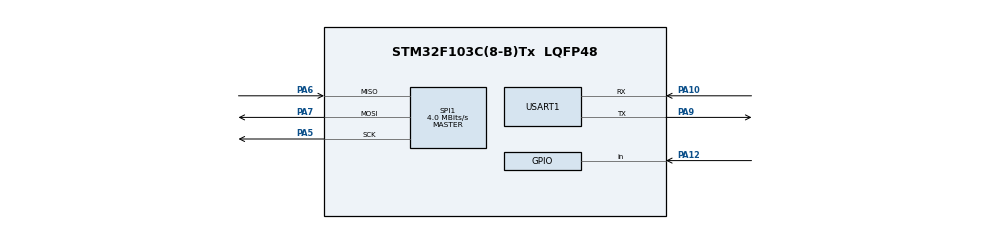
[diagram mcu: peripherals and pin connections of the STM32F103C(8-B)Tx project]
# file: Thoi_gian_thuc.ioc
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Mcu.Family=STM32F1
Mcu.Name=STM32F103C(8-B)Tx
Mcu.Package=LQFP48
NVIC.PriorityGroup=NVIC_PRIORITYGROUP_4
PA10.Mode=Asynchronous
PA10.Signal=USART1_RX
PA12.Signal=GPIO_Input
PA13.Mode=Serial_Wire
PA13.Signal=SYS_JTMS-SWDIO
PA14.Mode=Serial_Wire
PA14.Signal=SYS_JTCK-SWCLK
PA5.Mode=Full_Duplex_Master
PA5.Signal=SPI1_SCK
PA6.Mode=Full_Duplex_Master
PA6.Signal=SPI1_MISO
PA7.Mode=Full_Duplex_Master
PA7.Signal=SPI1_MOSI
PA9.Mode=Asynchronous
PA9.Signal=USART1_TX
ProjectManager.HeapSize=0x200
ProjectManager.StackSize=0x400
ProjectManager.TargetToolchain=STM32CubeIDE
RCC.APB1Freq_Value=8000000
RCC.APB2Freq_Value=8000000
SPI1.CalculateBaudRate=4.0 MBits/s
SPI1.Direction=SPI_DIRECTION_2LINES
SPI1.Mode=SPI_MODE_MASTER
SPI1.VirtualType=VM_MASTER
USART1.VirtualMode=VM_ASYNC
VP_TIM4_VS_ClockSourceINT.Mode=Internal
board=custom

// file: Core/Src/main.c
/* USER CODE BEGIN Header */
/**
  ******************************************************************************
  * @file           : main.c
  * @brief          : Main program body
  ******************************************************************************
  * @attention
  *
  * Copyright (c) 2025 STMicroelectronics.
  * All rights reserved.
  *
  * This software is licensed under terms that can be found in the LICENSE file
  * in the root directory of this software component.
  * If no LICENSE file comes with this software, it is provided AS-IS.
  *
  ******************************************************************************
  */
/* USER CODE END Header */
#include "main.h"
#include "stm32f10x.h"
#include "main.h"
#include "cmsis_os.h"
#include "stdio.h"
#include "string.h"

SPI_HandleTypeDef hspi1;

TIM_HandleTypeDef htim4;

UART_HandleTypeDef huart1;

void SystemClock_Config(void);
static void MX_GPIO_Init(void);
static void MX_TIM4_Init(void);
static void MX_SPI1_Init(void);
static void MX_USART1_UART_Init(void);

int main(void)
{
  /* USER CODE BEGIN 1 */

// Biến toàn cục
float temperature = 0.0, humidity = 0.0;
char uart_buffer[50];

// Queue để chia sẻ dữ liệu giữa task
QueueHandle_t SensorDataQueue;

// Hàm đọc cảm biến (giả lập)
void Read_DHT(float *temp, float *humid) {
}

// Task đọc dữ liệu cảm biến
void Task_ReadSensor(void *argument) {
    float temp, humid;

    while (1) {
        Read_DHT(&temp, &humid);

        // Gửi dữ liệu vào queue
        float data[2] = {temp, humid};
        xQueueSend(SensorDataQueue, &data, portMAX_DELAY);

        vTaskDelay(pdMS_TO_TICKS(1000)); // Chạy mỗi 1 giây
    }
}

// Task gửi UART
void Task_UARTSend(void *argument) {
    float data[2];

    while (1) {
        // Nhận dữ liệu từ queue
        if (xQueueReceive(SensorDataQueue, &data, portMAX_DELAY)) {
            sprintf(uart_buffer, "Temp: %.1f°C, Humidity: %.1f%%\r\n", data[0], data[1]);
            HAL_UART_Transmit(&huart1, (uint8_t *)uart_buffer, strlen(uart_buffer), HAL_MAX_DELAY);
        }
    }
}

// Task hiển thị LED
void Task_DisplayLED(void *argument) {
    float data[2];

    while (1) {
        // Nhận dữ liệu từ queue
        if (xQueueReceive(SensorDataQueue, &data, portMAX_DELAY)) {
            int temp_int = (int)data[0];
            int digit1 = temp_int / 10;
            int digit2 = temp_int % 10;

            // Hiển thị lên LED 7 thanh
            LED_DisplayDigit(1, digit1);
            HAL_Delay(5);
            LED_DisplayDigit(2, digit2);
            HAL_Delay(5);
        }
    }
}

// Main function
int main(void) {
    HAL_Init();
    SystemClock_Config();
    MX_GPIO_Init();
    MX_USART1_UART_Init();

    // Khởi tạo queue
    SensorDataQueue = xQueueCreate(10, sizeof(float) * 2);

    // Tạo tasks
    xTaskCreate(Task_ReadSensor, "ReadSensor", 128, NULL, 2, NULL);
    xTaskCreate(Task_UARTSend, "UARTSend", 128, NULL, 1, NULL);
    xTaskCreate(Task_DisplayLED, "DisplayLED", 128, NULL, 3, NULL);

    // Start scheduler
    vTaskStartScheduler();

    while (1);
}

void Delay1Ms(void);
void Delay_Ms(uint32_t u32DelayInMs);
void send(uint8_t u8Data);

void Delay1Ms(void)
{

	TIM_SetCounter(TIM2, 0);
	while (TIM_GetCounter(TIM2) < 1000) {
	}
}

void Delay_Ms(uint32_t u32DelayInMs)
{

	while (u32DelayInMs) {
		Delay1Ms();
		--u32DelayInMs;
	}
}

void send(uint8_t u8Data)
{
	uint8_t i;

	for (i = 0; i < 8; ++i) {
		if (u8Data & 0x80) {
			GPIO_SetBits(GPIOA, GPIO_Pin_0);
			Delay_Ms(4);
			GPIO_ResetBits(GPIOA, GPIO_Pin_0);
			Delay_Ms(1);
		} else {
			GPIO_SetBits(GPIOA, GPIO_Pin_0);
			Delay_Ms(1);
			GPIO_ResetBits(GPIOA, GPIO_Pin_0);
			Delay_Ms(4);
		}
		u8Data <<= 1;
	}
}

int main(void)
{
	GPIO_InitTypeDef gpioInit;
	TIM_TimeBaseInitTypeDef timerInit;
	uint16_t u16Tim;
	uint8_t u8Buff[5];
	uint8_t u8CheckSum;
	uint8_t i;

	RCC_APB2PeriphClockCmd(RCC_APB2Periph_GPIOC, ENABLE);
	RCC_APB2PeriphClockCmd(RCC_APB2Periph_GPIOB, ENABLE);
	RCC_APB1PeriphClockCmd(RCC_APB1Periph_TIM2, ENABLE);
	RCC_APB2PeriphClockCmd(RCC_APB2Periph_GPIOA, ENABLE);

	gpioInit.GPIO_Mode = GPIO_Mode_Out_PP;
	gpioInit.GPIO_Pin = GPIO_Pin_13;
	gpioInit.GPIO_Speed = GPIO_Speed_50MHz;

	GPIO_Init(GPIOC, &gpioInit);

	gpioInit.GPIO_Mode = GPIO_Mode_Out_OD;
	gpioInit.GPIO_Pin = GPIO_Pin_12;
	gpioInit.GPIO_Speed = GPIO_Speed_50MHz;

	GPIO_Init(GPIOB, &gpioInit);

	GPIO_SetBits(GPIOB, GPIO_Pin_12);

	timerInit.TIM_CounterMode = TIM_CounterMode_Up;
	timerInit.TIM_Period = 0xFFFF;
	timerInit.TIM_Prescaler = 72 - 1;

	TIM_TimeBaseInit(TIM2, &timerInit);

	TIM_Cmd(TIM2, ENABLE);

	gpioInit.GPIO_Mode = GPIO_Mode_Out_PP;
	gpioInit.GPIO_Pin = GPIO_Pin_0;
	gpioInit.GPIO_Speed = GPIO_Speed_50MHz;

	GPIO_Init(GPIOA, &gpioInit);

	while (1) {
		GPIO_ResetBits(GPIOB, GPIO_Pin_12);
		Delay_Ms(20);
		GPIO_SetBits(GPIOB, GPIO_Pin_12);

		/* cho chan PB12 len cao */
		TIM_SetCounter(TIM2, 0);
		while (TIM_GetCounter(TIM2) < 10) {
			if (GPIO_ReadInputDataBit(GPIOB, GPIO_Pin_12)) {
				break;
			}
		}
		u16Tim = TIM_GetCounter(TIM2);
		if (u16Tim >= 10) {
			while (1) {
			}
		}

		/* cho chan PB12 xuong thap */
		TIM_SetCounter(TIM2, 0);
		while (TIM_GetCounter(TIM2) < 45) {
			if (!GPIO_ReadInputDataBit(GPIOB, GPIO_Pin_12)) {
				break;
			}
		}
		u16Tim = TIM_GetCounter(TIM2);
		if ((u16Tim >= 45) || (u16Tim <= 5)) {
			while (1) {
			}
		}

		/* cho chan PB12 len cao */
		TIM_SetCounter(TIM2, 0);
		while (TIM_GetCounter(TIM2) < 90) {
			if (GPIO_ReadInputDataBit(GPIOB, GPIO_Pin_12)) {
				break;
			}
		}
		u16Tim = TIM_GetCounter(TIM2);
		if ((u16Tim >= 90) || (u16Tim <= 70)) {
			while (1) {
			}
		}

		/* cho chan PB12 xuong thap */
		TIM_SetCounter(TIM2, 0);
		while (TIM_GetCounter(TIM2) < 95) {
			if (!GPIO_ReadInputDataBit(GPIOB, GPIO_Pin_12)) {
				break;
			}
		}
		u16Tim = TIM_GetCounter(TIM2);
		if ((u16Tim >= 95) || (u16Tim <= 75)) {
			while (1) {
			}
		}

		/* nhan byte so 1 */
		for (i = 0; i < 8; ++i) {
			/* cho chan PB12 len cao */
			TIM_SetCounter(TIM2, 0);
			while (TIM_GetCounter(TIM2) < 65) {
				if (GPIO_ReadInputDataBit(GPIOB, GPIO_Pin_12)) {
					break;
				}
			}
			u16Tim = TIM_GetCounter(TIM2);
			if ((u16Tim >= 65) || (u16Tim <= 45)) {
				while (1) {
				}
			}

			/* cho chan PB12 xuong thap */
			TIM_SetCounter(TIM2, 0);
			while (TIM_GetCounter(TIM2) < 80) {
				if (!GPIO_ReadInputDataBit(GPIOB, GPIO_Pin_12)) {
					break;
				}
			}
			u16Tim = TIM_GetCounter(TIM2);
			if ((u16Tim >= 80) || (u16Tim <= 10)) {
				while (1) {
				}
			}
			u8Buff[0] <<= 1;
			if (u16Tim > 45) {
				/* nhan duoc bit 1 */
				u8Buff[0] |= 1;
			} else {
				/* nhan duoc bit 0 */
				u8Buff[0] &= ~1;
			}
		}

		/* nhan byte so 2 */
		for (i = 0; i < 8; ++i) {
			/* cho chan PB12 len cao */
			TIM_SetCounter(TIM2, 0);
			while (TIM_GetCounter(TIM2) < 65) {
				if (GPIO_ReadInputDataBit(GPIOB, GPIO_Pin_12)) {
					break;
				}
			}
			u16Tim = TIM_GetCounter(TIM2);
			if ((u16Tim >= 65) || (u16Tim <= 45)) {
				while (1) {
				}
			}

			/* cho chan PB12 xuong thap */
			TIM_SetCounter(TIM2, 0);
			while (TIM_GetCounter(TIM2) < 80) {
				if (!GPIO_ReadInputDataBit(GPIOB, GPIO_Pin_12)) {
					break;
				}
			}
			u16Tim = TIM_GetCounter(TIM2);
			if ((u16Tim >= 80) || (u16Tim <= 10)) {
				while (1) {
				}
			}
			u8Buff[1] <<= 1;
			if (u16Tim > 45) {
				/* nhan duoc bit 1 */
				u8Buff[1] |= 1;
			} else {
				/* nhan duoc bit 0 */
				u8Buff[1] &= ~1;
			}
		}

		/* nhan byte so 3 */
		for (i = 0; i < 8; ++i) {
			/* cho chan PB12 len cao */
			TIM_SetCounter(TIM2, 0);
			while (TIM_GetCounter(TIM2) < 65) {
				if (GPIO_ReadInputDataBit(GPIOB, GPIO_Pin_12)) {
					break;
				}
			}
			u16Tim = TIM_GetCounter(TIM2);
			if ((u16Tim >= 65) || (u16Tim <= 45)) {
				while (1) {
				}
			}

			/* cho chan PB12 xuong thap */
			TIM_SetCounter(TIM2, 0);
			while (TIM_GetCounter(TIM2) < 80) {
				if (!GPIO_ReadInputDataBit(GPIOB, GPIO_Pin_12)) {
					break;
				}
			}
			u16Tim = TIM_GetCounter(TIM2);
			if ((u16Tim >= 80) || (u16Tim <= 10)) {
				while (1) {
				}
			}
			u8Buff[2] <<= 1;
			if (u16Tim > 45) {
				/* nhan duoc bit 1 */
				u8Buff[2] |= 1;
			} else {
				/* nhan duoc bit 0 */
				u8Buff[2] &= ~1;
			}
		}

		/* nhan byte so 4 */
		for (i = 0; i < 8; ++i) {
			/* cho chan PB12 len cao */
			TIM_SetCounter(TIM2, 0);
			while (TIM_GetCounter(TIM2) < 65) {
				if (GPIO_ReadInputDataBit(GPIOB, GPIO_Pin_12)) {
					break;
				}
			}
			u16Tim = TIM_GetCounter(TIM2);
			if ((u16Tim >= 65) || (u16Tim <= 45)) {
				while (1) {
				}
			}

			/* cho chan PB12 xuong thap */
			TIM_SetCounter(TIM2, 0);
			while (TIM_GetCounter(TIM2) < 80) {
				if (!GPIO_ReadInputDataBit(GPIOB, GPIO_Pin_12)) {
					break;
				}
			}
			u16Tim = TIM_GetCounter(TIM2);
			if ((u16Tim >= 80) || (u16Tim <= 10)) {
				while (1) {
				}
			}
			u8Buff[3] <<= 1;
			if (u16Tim > 45) {
				/* nhan duoc bit 1 */
				u8Buff[3] |= 1;
			} else {
				/* nhan duoc bit 0 */
				u8Buff[3] &= ~1;
			}
		}

		/* nhan byte so 5 */
		for (i = 0; i < 8; ++i) {
			/* cho chan PB12 len cao */
			TIM_SetCounter(TIM2, 0);
			while (TIM_GetCounter(TIM2) < 65) {
				if (GPIO_ReadInputDataBit(GPIOB, GPIO_Pin_12)) {
					break;
				}
			}
			u16Tim = TIM_GetCounter(TIM2);
			if ((u16Tim >= 65) || (u16Tim <= 45)) {
				while (1) {
				}
			}

			/* cho chan PB12 xuong thap */
			TIM_SetCounter(TIM2, 0);
			while (TIM_GetCounter(TIM2) < 80) {
				if (!GPIO_ReadInputDataBit(GPIOB, GPIO_Pin_12)) {
					break;
				}
			}
			u16Tim = TIM_GetCounter(TIM2);
			if ((u16Tim >= 80) || (u16Tim <= 10)) {
				while (1) {
				}
			}
			u8Buff[4] <<= 1;
			if (u16Tim > 45) {
				/* nhan duoc bit 1 */
				u8Buff[4] |= 1;
			} else {
				/* nhan duoc bit 0 */
				u8Buff[4] &= ~1;
			}
		}

		u8CheckSum = u8Buff[0] + u8Buff[1] + u8Buff[2] + u8Buff[3];
		if (u8CheckSum != u8Buff[4]) {
			while (1) {
			}
		}

		/* da doc duoc nhiet do va do am */
		/* gui do am */

		send(u8Buff[0]);

		//Delay_Ms(20);

		/* gui nhiet do */
		send(u8Buff[2]);

		GPIO_SetBits(GPIOC, GPIO_Pin_13);
		Delay_Ms(500);
		GPIO_ResetBits(GPIOC, GPIO_Pin_13);
		Delay_Ms(500);
	}

}

#endif
  /* USER CODE END 1 */

  /* MCU Configuration--------------------------------------------------------*/

  /* Reset of all peripherals, Initializes the Flash interface and the Systick. */
  HAL_Init();

  /* Configure the system clock */
  SystemClock_Config();

  /* Initialize all configured peripherals */
  MX_GPIO_Init();
  MX_TIM4_Init();
  MX_SPI1_Init();
  MX_USART1_UART_Init();

  /* Infinite loop */
  while (1)
  {

  }
}

void SystemClock_Config(void)
{
  RCC_OscInitTypeDef RCC_OscInitStruct = {0};
  RCC_ClkInitTypeDef RCC_ClkInitStruct = {0};

  /** Initializes the RCC Oscillators according to the specified parameters
  * in the RCC_OscInitTypeDef structure.
  */
  RCC_OscInitStruct.OscillatorType = RCC_OSCILLATORTYPE_HSI;
  RCC_OscInitStruct.HSIState = RCC_HSI_ON;
  RCC_OscInitStruct.HSICalibrationValue = RCC_HSICALIBRATION_DEFAULT;
  RCC_OscInitStruct.PLL.PLLState = RCC_PLL_NONE;
  if (HAL_RCC_OscConfig(&RCC_OscInitStruct) != HAL_OK)
  {
    Error_Handler();
  }

  /** Initializes the CPU, AHB and APB buses clocks
  */
  RCC_ClkInitStruct.ClockType = RCC_CLOCKTYPE_HCLK|RCC_CLOCKTYPE_SYSCLK
                              |RCC_CLOCKTYPE_PCLK1|RCC_CLOCKTYPE_PCLK2;
  RCC_ClkInitStruct.SYSCLKSource = RCC_SYSCLKSOURCE_HSI;
  RCC_ClkInitStruct.AHBCLKDivider = RCC_SYSCLK_DIV1;
  RCC_ClkInitStruct.APB1CLKDivider = RCC_HCLK_DIV1;
  RCC_ClkInitStruct.APB2CLKDivider = RCC_HCLK_DIV1;

  if (HAL_RCC_ClockConfig(&RCC_ClkInitStruct, FLASH_LATENCY_0) != HAL_OK)
  {
    Error_Handler();
  }
}

static void MX_SPI1_Init(void)
{

  /* SPI1 parameter configuration*/
  hspi1.Instance = SPI1;
  hspi1.Init.Mode = SPI_MODE_MASTER;
  hspi1.Init.Direction = SPI_DIRECTION_2LINES;
  hspi1.Init.DataSize = SPI_DATASIZE_8BIT;
  hspi1.Init.CLKPolarity = SPI_POLARITY_LOW;
  hspi1.Init.CLKPhase = SPI_PHASE_1EDGE;
  hspi1.Init.NSS = SPI_NSS_SOFT;
  hspi1.Init.BaudRatePrescaler = SPI_BAUDRATEPRESCALER_2;
  hspi1.Init.FirstBit = SPI_FIRSTBIT_MSB;
  hspi1.Init.TIMode = SPI_TIMODE_DISABLE;
  hspi1.Init.CRCCalculation = SPI_CRCCALCULATION_DISABLE;
  hspi1.Init.CRCPolynomial = 10;
  if (HAL_SPI_Init(&hspi1) != HAL_OK)
  {
    Error_Handler();
  }

}

static void MX_TIM4_Init(void)
{

  TIM_ClockConfigTypeDef sClockSourceConfig = {0};
  TIM_MasterConfigTypeDef sMasterConfig = {0};

  htim4.Instance = TIM4;
  htim4.Init.Prescaler = 0;
  htim4.Init.CounterMode = TIM_COUNTERMODE_UP;
  htim4.Init.Period = 65535;
  htim4.Init.ClockDivision = TIM_CLOCKDIVISION_DIV1;
  htim4.Init.AutoReloadPreload = TIM_AUTORELOAD_PRELOAD_DISABLE;
  if (HAL_TIM_Base_Init(&htim4) != HAL_OK)
  {
    Error_Handler();
  }
  sClockSourceConfig.ClockSource = TIM_CLOCKSOURCE_INTERNAL;
  if (HAL_TIM_ConfigClockSource(&htim4, &sClockSourceConfig) != HAL_OK)
  {
    Error_Handler();
  }
  sMasterConfig.MasterOutputTrigger = TIM_TRGO_RESET;
  sMasterConfig.MasterSlaveMode = TIM_MASTERSLAVEMODE_DISABLE;
  if (HAL_TIMEx_MasterConfigSynchronization(&htim4, &sMasterConfig) != HAL_OK)
  {
    Error_Handler();
  }

}

static void MX_USART1_UART_Init(void)
{

  huart1.Instance = USART1;
  huart1.Init.BaudRate = 115200;
  huart1.Init.WordLength = UART_WORDLENGTH_8B;
  huart1.Init.StopBits = UART_STOPBITS_1;
  huart1.Init.Parity = UART_PARITY_NONE;
  huart1.Init.Mode = UART_MODE_TX_RX;
  huart1.Init.HwFlowCtl = UART_HWCONTROL_NONE;
  huart1.Init.OverSampling = UART_OVERSAMPLING_16;
  if (HAL_UART_Init(&huart1) != HAL_OK)
  {
    Error_Handler();
  }

}

static void MX_GPIO_Init(void)
{
  GPIO_InitTypeDef GPIO_InitStruct = {0};

  /* GPIO Ports Clock Enable */
  __HAL_RCC_GPIOA_CLK_ENABLE();

  /*Configure GPIO pin : PA12 */
  GPIO_InitStruct.Pin = GPIO_PIN_12;
  GPIO_InitStruct.Mode = GPIO_MODE_INPUT;
  GPIO_InitStruct.Pull = GPIO_NOPULL;
  HAL_GPIO_Init(GPIOA, &GPIO_InitStruct);

}

void Error_Handler(void)
{
  __disable_irq();
  while (1)
  {
  }
}
